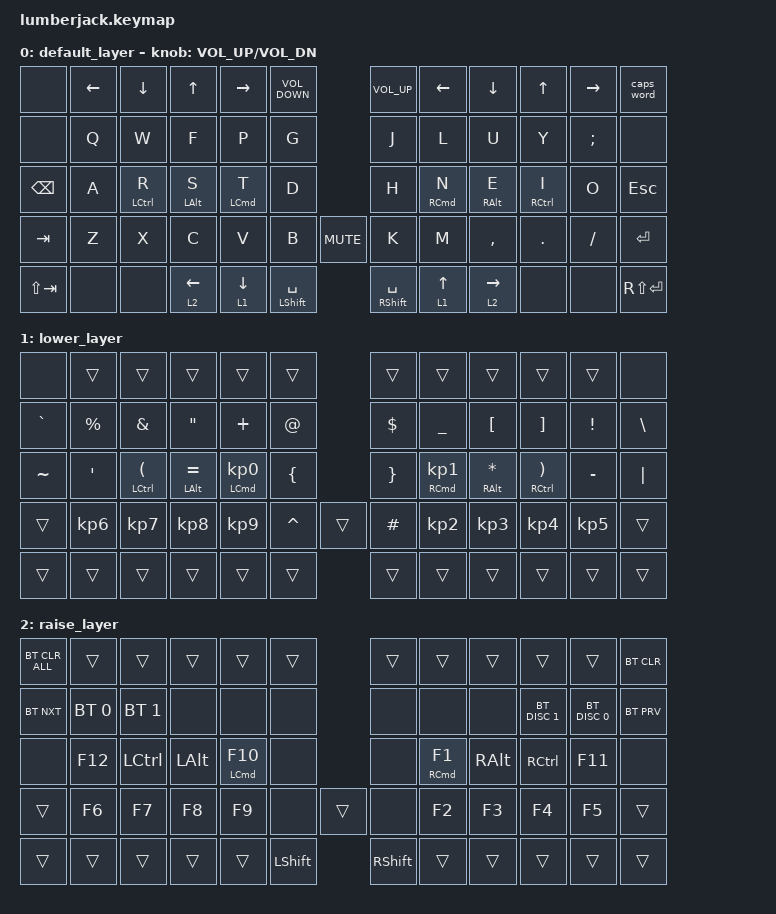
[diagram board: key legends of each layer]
/*
 * Copyright (c) 2021 The ZMK Contributors
 *
 * SPDX-License-Identifier: MIT
 */

#include <behaviors.dtsi>
#include <dt-bindings/zmk/bt.h>
#include <dt-bindings/zmk/keys.h>

#define BASE 0
#define LOWER 1
#define RAISE 2
#define ADJUST 3
#define NAV 4
#define FN 5

/* Uncomment to enable the encoder */
// &sensors {
//     status = "okay";
// };
// &encoder { status = "okay"; };

/ {
    behaviors {
        volknob: volume_encoder {
            compatible = "zmk,behavior-sensor-rotate";
            label = "ENCODER_VOLUME_KNOB";
            #sensor-binding-cells = <0>;
            bindings = <&kp C_VOLUME_UP>, <&kp C_VOLUME_DOWN>;
        };
    };

    keymap {
        compatible = "zmk,keymap";

        default_layer {
            // ------------------------------------------------------------------------------------------
            // |  ESC     |  1   |  2   |  3   |  4   |  5   |   6   |  7    |  8   |  9   |   0   | BSPC  |
            // |  TAB     |  Q   |  W   |  E   |  R   |  T   |   Y   |  U    |  I   |  O   |   P   | DEL   |
            // | LCTL/ESC |  A   |  S   |  D   |  F   |  G   |   H   |  J    |  K   |  L   |   ;   |  '    |
            // | SHIFT    |  Z   |  X   |  C   |  V   |  B   |   N   |  M    |  ,   |  .   |   /   | ENTER |
            // |ADJUST | LCTL | LGUI | LALT | LOWR | SPACE| SPACE |  RAIS | LARW | DARW | UARW  | RARW  |

            bindings = <
&none          &kp LEFT  &kp DOWN            &kp UP          &kp RIGHT   &kp C_VOLUME_DOWN                 &kp C_VOLUME_UP        &kp LEFT             &kp DOWN         &kp UP               &kp RIGHT      &caps_word
&none          &kp Q     &kp W               &kp F           &kp P       &kp G                             &kp J                  &kp L                &kp U            &kp Y                &kp SEMICOLON  &none
&kp BACKSPACE  &kp A     &mt LEFT_CONTROL R  &mt LEFT_ALT S  &mt LCMD T  &kp D                             &kp H                  &mt RIGHT_COMMAND N  &mt RIGHT_ALT E  &mt RIGHT_CONTROL I  &kp O          &kp ESCAPE
&kp TAB        &kp Z     &kp X               &kp C           &kp V       &kp B                 &kp C_MUTE  &kp K                  &kp M                &kp COMMA        &kp DOT              &kp FSLH       &kp RET
&kp LS(TAB)    &none     &none               &lt 2 LEFT      &lt 1 DOWN  &mt LEFT_SHIFT SPACE              &mt RIGHT_SHIFT SPACE  &lt 1 UP             &lt 2 RIGHT      &none                &none          &kp RS(ENTER)
            >;

            sensor-bindings = <&inc_dec_kp C_VOL_UP C_VOL_DN>;
        };

        lower_layer {
            // -------------------------------------------------------------------------------------------
            // |  ESC  |  F2  |  F3  |  F4  |  F5  |  F6  |   F7  |  F8   |  F9  | F10  |  F11  |  F12  |
            // |   ~   |  !   |  @   |  #   |  $   |  %   |   ^   |   &   |  *   |  (   |   )   |  DEL  |
            // |       |  F1  |  F2  |  F3  |  F4  |  F5  |   F6  |   _   |  +   |  {   |   }   |   |   |
            // |       |  F7  |  F8  |  F9  |  F10 |  F11 |   F12 | LS(#) |LS(|) |      |       |       |
            // |       |      |      |      |      |      |       |       | NEXT | Vol- | Vol+ | PLAY   |

            bindings = <
&none      &trans           &trans                             &trans              &trans                        &trans                  &trans           &trans                         &trans                  &trans                               &trans           &none
&kp GRAVE  &kp PERCENT      &kp AMPERSAND                      &kp DOUBLE_QUOTES   &kp PLUS                      &kp AT_SIGN             &kp DOLLAR       &kp UNDERSCORE                 &kp LEFT_BRACKET        &kp RIGHT_BRACKET                    &kp EXCLAMATION  &kp BACKSLASH
&kp TILDE  &kp SQT          &mt LEFT_CONTROL LEFT_PARENTHESIS  &mt LEFT_ALT EQUAL  &mt LEFT_COMMAND KP_NUMBER_0  &kp LEFT_BRACE          &kp RIGHT_BRACE  &mt RIGHT_COMMAND KP_NUMBER_1  &mt RIGHT_ALT ASTERISK  &mt RIGHT_CONTROL RIGHT_PARENTHESIS  &kp MINUS        &kp PIPE
&trans     &kp KP_NUMBER_6  &kp KP_NUMBER_7                    &kp KP_NUMBER_8     &kp KP_NUMBER_9               &kp CARET       &trans  &kp HASH         &kp KP_NUMBER_2                &kp KP_NUMBER_3         &kp KP_NUMBER_4                      &kp KP_NUMBER_5  &trans
&trans     &trans           &trans                             &trans              &trans                        &trans                  &trans           &trans                         &trans                  &trans                               &trans           &trans
            >;
        };

        raise_layer {
            // ------------------------------------------------------------------------------------------
            // |  ESC  |  F2  |  F3  |  F4  |  F5  |  F6  |  F7   |  F8   |  F9  | F10  |  F11  |  F12  |
            // |   ~   |  1   |  2   |  3   |  4   |  5   |  6    |   7   |  8   |  9   |   0   |  DEL  |
            // |  DEL  |  F1  |  F2  |  F3  |  F4  |  F5  |  F6   |   -   |  =   |  [   |   ]   |   \   |
            // |       |  F7  |  F8  |  F9  |  F10 |  F11 |  F12  |   #   |  |   |      |       |       |
            // |       |      |      |      |      |      |       |       |       |      |      |       |

            bindings = <
&bt BT_CLR_ALL  &trans        &trans        &trans    &trans                &trans                  &trans           &trans                &trans    &trans         &trans         &bt BT_CLR
&bt BT_NXT      &bt BT_SEL 0  &bt BT_SEL 1  &none     &none                 &none                   &none            &none                 &none     &bt BT_DISC 1  &bt BT_DISC 0  &bt BT_PRV
&none           &kp F12       &kp LCTRL     &kp LALT  &mt LEFT_COMMAND F10  &none                   &none            &mt RIGHT_COMMAND F1  &kp RALT  &kp RCTRL      &kp F11        &none
&trans          &kp F6        &kp F7        &kp F8    &kp F9                &none           &trans  &none            &kp F2                &kp F3    &kp F4         &kp F5         &trans
&trans          &trans        &trans        &trans    &trans                &kp LEFT_SHIFT          &kp RIGHT_SHIFT  &trans                &trans    &trans         &trans         &trans
            >;
        };
    };
};
